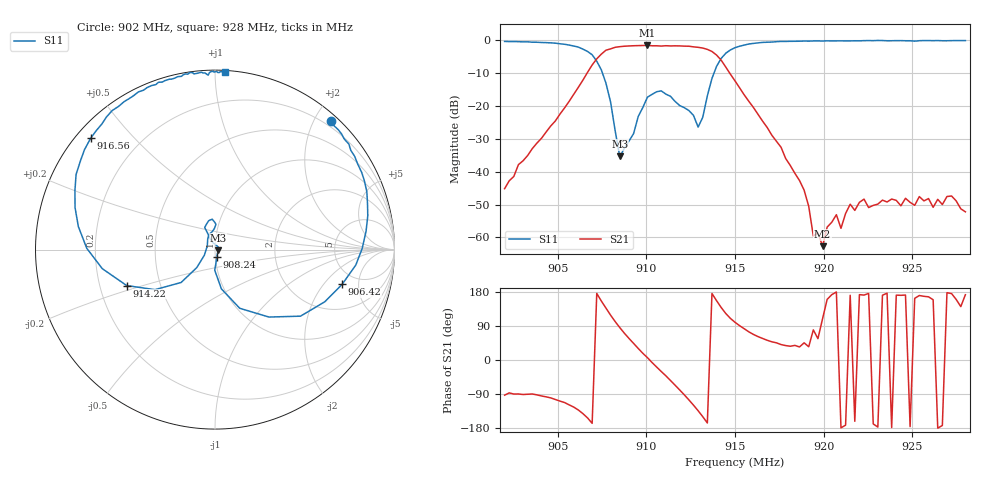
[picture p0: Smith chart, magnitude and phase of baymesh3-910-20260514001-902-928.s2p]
# HZ S RI R 50
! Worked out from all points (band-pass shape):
!   101 points, 902 MHz to 928 MHz, reference 50 ohm
!   highest |S21| = -1.54 dB at 910.06 MHz (marker M1); lowest = -62.7 dB at 919.94 MHz (marker M2)
!   |S21| within 3 dB of the highest: 907.4 MHz to 913.97 MHz (6.573 MHz wide, 0.722 % of centre)
!   lowest |S11| = -35.4 dB at 908.5 MHz (marker M3), VSWR 1.03, Z = 51.7 - j0.514 ohm
!   |S11| at or under -10 dB: 907.52 MHz to 913.81 MHz (6.288 MHz wide, 0.691 % of centre)
!   S12 and S22 are empty: the file has one direction only
!   S11 on the Smith chart (normalised r, x): 902 MHz: 0.11, +2.25; 906.42 MHz: 3.76, -3.16; 908.24 MHz: 1.02, -0.08; 914.22 MHz: 0.32, -0.18; 916.56 MHz: 0.04, +0.38; 928 MHz: 0.01, +1.06
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9.02e8  0.6463 0.7145  -0.00027 -0.0055  0 0  0 0
9.046e8  0.8321 0.3838  -0.00856 -0.0488  0 0  0 0
9.0642e8  0.7083 -0.1937  -0.1945 -0.1543  0 0  0 0
9.0746e8  0.1379 -0.3269  -0.5618 0.2568  0 0  0 0
9.0824e8  0.0109 -0.0402  -0.1539 0.7692  0 0  0 0
9.085e8  0.0163 -0.00498  0.0632 0.7984  0 0  0 0
9.1006e8  -0.0575 0.1236  0.8327 0.0907  0 0  0 0
9.1084e8  -0.0157 0.1694  0.706 -0.4143  0 0  0 0
9.1188e8  -0.0147 0.1006  0.1554 -0.8079  0 0  0 0
9.1292e8  -0.0428 0.0211  -0.5434 -0.5641  0 0  0 0
9.137e8  -0.189 -0.1833  -0.6752 0.0528  0 0  0 0
9.1422e8  -0.4922 -0.2001  -0.374 0.3303  0 0  0 0
9.15e8  -0.7615 0.1288  -0.0399 0.2382  0 0  0 0
9.1656e8  -0.692 0.6217  0.0321 0.0491  0 0  0 0
9.189e8  -0.4269 0.8787  0.00368 0.00372  0 0  0 0
9.1942e8  -0.3785 0.9025  0.000192 0.00103  0 0  0 0
9.1994e8  -0.3299 0.9193  -0.000236 0.000695  0 0  0 0
9.202e8  -0.3152 0.932  -0.00135 0.000491  0 0  0 0
9.215e8  -0.2256 0.9548  -0.00315 0.000509  0 0  0 0
9.2384e8  -0.1011 0.9817  -0.00383 -0.000111  0 0  0 0
9.2722e8  0.0272 0.9899  -0.00425 0.000348  0 0  0 0
9.28e8  0.0542 0.9912  -0.00243 0.000329  0 0  0 0
